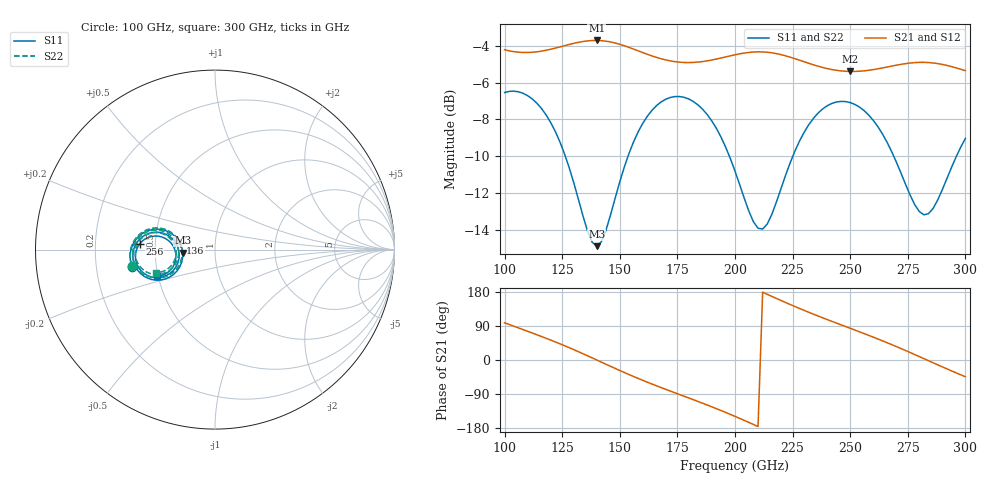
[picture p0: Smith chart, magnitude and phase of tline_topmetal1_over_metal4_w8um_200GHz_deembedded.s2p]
! Created with skrf 2.0.1 (http://scikit-rf.org).
# GHz S DB R 50.0
!freq dBS11 angS11 dBS21 angS21 dBS12 angS12 dBS22 angS22
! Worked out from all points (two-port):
!   101 points, 100 GHz to 300 GHz, reference 50 ohm
!   highest |S21| = -3.72 dB at 140 GHz (marker M1); lowest = -5.4 dB at 250 GHz (marker M2)
!   |S21| within 3 dB of the highest: start of sweep to end of sweep
!   lowest |S11| = -14.9 dB at 140 GHz (marker M3), VSWR 1.44, Z = 34.7 - j1.23 ohm
!   |S11| at or under -10 dB: 126.4 GHz to 153.5 GHz (27.17 GHz wide, 19.4 % of centre); 197.6 GHz to 225.1 GHz (27.47 GHz wide, 13 % of centre); 268.9 GHz to 296.1 GHz (27.14 GHz wide, 9.61 % of centre)
!   |S22| runs from -14.7 to -6.5 dB; largest |S21 - S12| = 7e-14
!   S11 on the Smith chart (normalised r, x): 100 GHz: 0.36, -0.09; 136 GHz: 0.67, +0.05; 256 GHz: 0.41, +0.03; 300 GHz: 0.50, -0.17
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100  -6.54 -167.9  -4.23 98.3  -4.23 98.3  -6.54 -169.0
108  -6.58 -179.7  -4.37 80.3  -4.37 80.3  -6.58 179.2
118  -7.75 166.8  -4.25 57.3  -4.25 57.3  -7.74 165.7
126  -9.86 159.5  -4.00 37.7  -4.00 37.7  -9.83 158.4
134  -13.21 164.2  -3.78 16.6  -3.78 16.6  -13.12 163.1
136  -14.04 169.5  -3.75 11.1  -3.75 11.1  -13.93 168.2
140  -14.86 -174.6  -3.72 -0.0  -3.72 -0.0  -14.73 -176.2
146  -13.16 -153.7  -3.80 -16.8  -3.80 -16.8  -13.08 -155.8
154  -9.84 -149.4  -4.10 -38.4  -4.10 -38.4  -9.81 -151.6
168  -7.04 -164.5  -4.71 -73.0  -4.71 -73.0  -7.04 -166.6
184  -7.22 174.5  -4.89 -109.6  -4.89 -109.6  -7.21 172.4
200  -10.80 162.6  -4.50 -148.7  -4.50 -148.7  -10.76 160.6
208  -13.54 174.6  -4.35 -170.1  -4.35 -170.1  -13.45 172.3
212  -13.93 -172.1  -4.34 178.9  -4.34 178.9  -13.83 -174.7
222  -11.01 -152.2  -4.56 151.6  -4.56 151.6  -10.97 -155.3
234  -7.94 -158.7  -5.04 121.1  -5.04 121.1  -7.94 -161.8
250  -7.09 -177.5  -5.40 83.7  -5.40 83.7  -7.10 179.3
256  -7.52 175.7  -5.37 69.8  -5.37 69.8  -7.54 172.4
268  -9.74 166.7  -5.11 40.6  -5.11 40.6  -9.78 163.2
282  -13.16 -174.9  -4.91 3.6  -4.91 3.6  -13.25 -178.4
290  -11.80 -157.1  -5.02 -18.1  -5.02 -18.1  -11.87 -160.4
300  -9.02 -155.1  -5.36 -44.2  -5.36 -44.2  -9.07 -158.6
